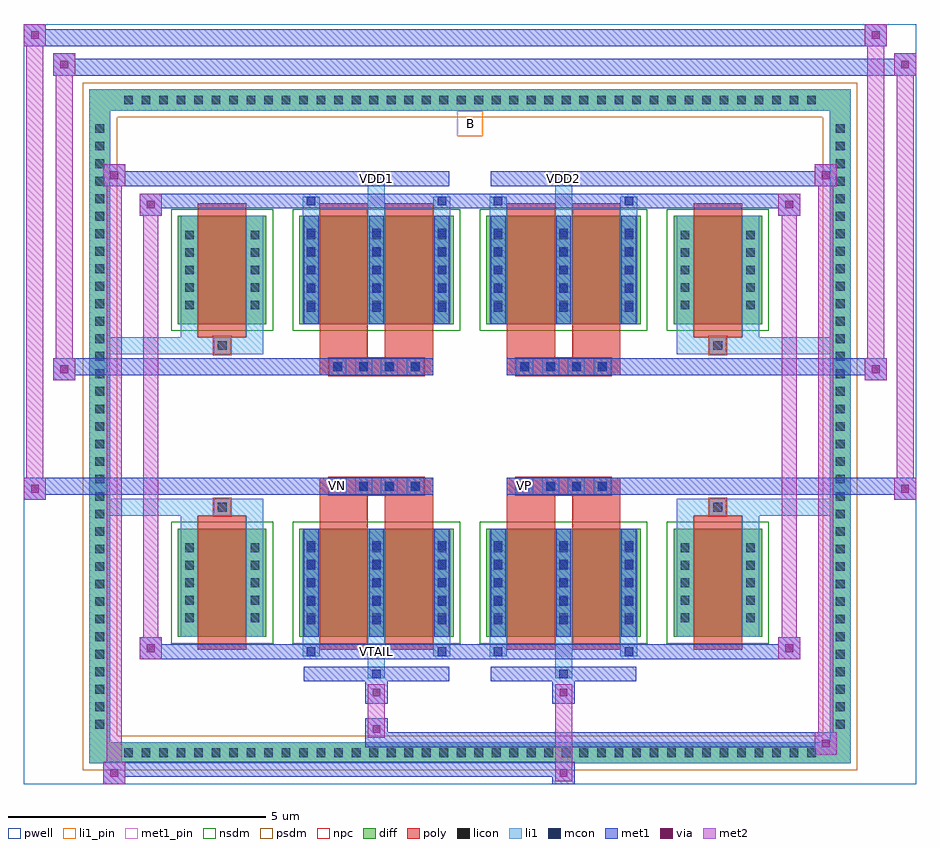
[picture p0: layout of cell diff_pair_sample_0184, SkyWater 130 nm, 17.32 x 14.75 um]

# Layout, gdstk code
import gdstk
lib = gdstk.Library(unit=1e-6, precision=5e-09)
def R(c, l, rs):  # rectangles x0, y0, x1, y1
    for r in rs: c.add(gdstk.rectangle(r[:2], r[2:], *l))
def A(c, l, x, y, w, h, nx, ny, dx, dy):  # array of equal rectangles
    R(c, l, [(x+i*dx, y+j*dy, x+i*dx+w, y+j*dy+h) for i in range(nx) for j in range(ny)])
def P(c, l, *ps):  # polygons
    for p in ps: c.add(gdstk.Polygon(p, *l))
pwell = (64, 44)
diff = (65, 20)
poly = (66, 20)
licon = (66, 44)
li1_pin = (67, 16)
li1 = (67, 20)
mcon = (67, 44)
met1_pin = (68, 16)
met1 = (68, 20)
via = (68, 44)
met2 = (69, 20)
nsdm = (93, 44)
psdm = (94, 20)
npc = (95, 20)

diff_pair_sample_0184 = lib.new_cell('diff_pair_sample_0184')
R(diff_pair_sample_0184, pwell, [(-8.66,-6.94,8.66,7.81), (-5.98,-5.13,-0.01,-0.795), (0.01,-5.13,5.98,-0.795), (-5.98,0.795,-0.01,5.13), (0.01,0.795,5.98,5.13)])
A(diff_pair_sample_0184, diff, -6.835, -6.54, 0.41, 0.41, 40, 2, 0.34, 12.67)
A(diff_pair_sample_0184, diff, -7.39, -5.985, 0.41, 0.41, 1, 35, 0, 0.34)
A(diff_pair_sample_0184, diff, 6.98, -5.985, 0.41, 0.41, 1, 35, 0, 0.34)
R(diff_pair_sample_0184, diff, [(-6.835,-6.54,6.835,-6.13), (-7.39,-5.985,-6.98,5.985), (6.98,-5.985,7.39,5.985), (-5.67,-4.085,-3.95,-1.985), (-3.31,-4.085,-0.32,-1.985), (0.32,-4.085,3.31,-1.985), (3.95,-4.085,5.67,-1.985), (-5.67,1.985,-3.95,4.085), (-3.31,1.985,-0.32,4.085), (0.32,1.985,3.31,4.085), (3.95,1.985,5.67,4.085), (-6.835,6.13,6.835,6.54)])
P(diff_pair_sample_0184, diff, [(7.39,6.54),(-7.39,6.54),(-7.39,-6.13),(-6.98,-6.13),(-6.98,6.13),(6.98,6.13),(6.98,-6.13),(-6.98,-6.13),(-7.39,-6.13),(-7.39,-6.54),(7.39,-6.54)])
A(diff_pair_sample_0184, poly, -2.73, -1.325, 0.33, 0.33, 4, 2, 0.5, 2.32)
A(diff_pair_sample_0184, poly, 0.9, -1.325, 0.33, 0.33, 4, 2, 0.5, 2.32)
R(diff_pair_sample_0184, poly, [(-5.28,-4.335,-4.34,-1.735), (-2.92,-4.335,-1.98,-1.735), (-1.65,-4.335,-0.71,-1.735), (0.71,-4.335,1.65,-1.735), (1.98,-4.335,2.92,-1.735), (4.34,-4.335,5.28,-1.735), (-4.975,-1.735,-4.645,-1.405), (-4.975,-1.735,-4.645,-1.405), (-2.92,-1.735,-1.98,-1.325), (-1.65,-1.735,-0.71,-1.325), (0.71,-1.735,1.65,-1.325), (1.98,-1.735,2.92,-1.325), (4.645,-1.735,4.975,-1.405), (4.645,-1.735,4.975,-1.405), (-2.92,-1.325,-0.71,-0.995), (0.71,-1.325,2.92,-0.995), (-2.92,0.995,-0.71,1.325), (0.71,0.995,2.92,1.325), (-2.92,1.325,-1.98,1.735), (-1.65,1.325,-0.71,1.735), (0.71,1.325,1.65,1.735), (1.98,1.325,2.92,1.735), (-4.975,1.405,-4.645,1.735), (-4.975,1.405,-4.645,1.735), (4.645,1.405,4.975,1.735), (4.645,1.405,4.975,1.735), (-5.28,1.735,-4.34,4.335), (-2.92,1.735,-1.98,4.335), (-1.65,1.735,-0.71,4.335), (0.71,1.735,1.65,4.335), (1.98,1.735,2.92,4.335), (4.34,1.735,5.28,4.335)])
A(diff_pair_sample_0184, licon, -6.715, -6.42, 0.17, 0.17, 40, 2, 0.34, 12.67)
A(diff_pair_sample_0184, licon, -7.27, -5.865, 0.17, 0.17, 1, 35, 0, 0.34)
A(diff_pair_sample_0184, licon, 7.1, -5.865, 0.17, 0.17, 1, 35, 0, 0.34)
A(diff_pair_sample_0184, licon, -5.53, -3.8, 0.17, 0.17, 1, 5, 0, 0.34)
A(diff_pair_sample_0184, licon, -4.26, -3.8, 0.17, 0.17, 1, 5, 0, 0.34)
A(diff_pair_sample_0184, licon, -3.17, -3.8, 0.17, 0.17, 3, 5, 1.27, 0.34)
A(diff_pair_sample_0184, licon, 0.46, -3.8, 0.17, 0.17, 3, 5, 1.27, 0.34)
A(diff_pair_sample_0184, licon, 4.09, -3.8, 0.17, 0.17, 1, 5, 0, 0.34)
A(diff_pair_sample_0184, licon, 5.36, -3.8, 0.17, 0.17, 1, 5, 0, 0.34)
A(diff_pair_sample_0184, licon, -2.65, -1.245, 0.17, 0.17, 4, 2, 0.5, 2.32)
A(diff_pair_sample_0184, licon, 0.98, -1.245, 0.17, 0.17, 4, 2, 0.5, 2.32)
A(diff_pair_sample_0184, licon, -5.53, 2.27, 0.17, 0.17, 1, 5, 0, 0.34)
A(diff_pair_sample_0184, licon, -4.26, 2.27, 0.17, 0.17, 1, 5, 0, 0.34)
A(diff_pair_sample_0184, licon, -3.17, 2.27, 0.17, 0.17, 3, 5, 1.27, 0.34)
A(diff_pair_sample_0184, licon, 0.46, 2.27, 0.17, 0.17, 3, 5, 1.27, 0.34)
A(diff_pair_sample_0184, licon, 4.09, 2.27, 0.17, 0.17, 1, 5, 0, 0.34)
A(diff_pair_sample_0184, licon, 5.36, 2.27, 0.17, 0.17, 1, 5, 0, 0.34)
R(diff_pair_sample_0184, licon, [(-4.895,-1.655,-4.725,-1.485), (4.725,-1.655,4.895,-1.485), (-4.895,1.485,-4.725,1.655), (4.725,1.485,4.895,1.655)])
R(diff_pair_sample_0184, li1_pin, [(-0.25,5.63,0.25,6.13)])
A(diff_pair_sample_0184, li1, -6.795, -6.5, 0.33, 0.33, 40, 2, 0.34, 12.67)
A(diff_pair_sample_0184, li1, -7.35, -5.945, 0.33, 0.33, 1, 35, 0, 0.34)
A(diff_pair_sample_0184, li1, 7.02, -5.945, 0.33, 0.33, 1, 35, 0, 0.34)
A(diff_pair_sample_0184, li1, -3.25, -4.085, 0.33, 2.1, 3, 2, 1.27, 6.07)
A(diff_pair_sample_0184, li1, 0.38, -4.085, 0.33, 2.1, 3, 2, 1.27, 6.07)
A(diff_pair_sample_0184, li1, -5.61, -3.88, 0.33, 0.33, 1, 5, 0, 0.34)
A(diff_pair_sample_0184, li1, -4.34, -3.88, 0.33, 0.33, 1, 5, 0, 0.34)
A(diff_pair_sample_0184, li1, -3.25, -3.88, 0.33, 0.33, 3, 5, 1.27, 0.34)
A(diff_pair_sample_0184, li1, 0.38, -3.88, 0.33, 0.33, 3, 5, 1.27, 0.34)
A(diff_pair_sample_0184, li1, 4.01, -3.88, 0.33, 0.33, 1, 5, 0, 0.34)
A(diff_pair_sample_0184, li1, 5.28, -3.88, 0.33, 0.33, 1, 5, 0, 0.34)
A(diff_pair_sample_0184, li1, -3.17, -3.84, 0.17, 0.17, 3, 5, 1.27, 0.36)
A(diff_pair_sample_0184, li1, -3.17, -3.84, 0.17, 1.61, 3, 2, 1.27, 6.07)
A(diff_pair_sample_0184, li1, 0.46, -3.84, 0.17, 0.17, 3, 5, 1.27, 0.36)
A(diff_pair_sample_0184, li1, 0.46, -3.84, 0.17, 1.61, 3, 2, 1.27, 6.07)
A(diff_pair_sample_0184, li1, -2.73, -1.325, 0.33, 0.33, 4, 2, 0.5, 2.32)
A(diff_pair_sample_0184, li1, 0.9, -1.325, 0.33, 0.33, 4, 2, 0.5, 2.32)
A(diff_pair_sample_0184, li1, -5.61, 2.19, 0.33, 0.33, 1, 5, 0, 0.34)
A(diff_pair_sample_0184, li1, -4.34, 2.19, 0.33, 0.33, 1, 5, 0, 0.34)
A(diff_pair_sample_0184, li1, -3.25, 2.19, 0.33, 0.33, 3, 5, 1.27, 0.34)
A(diff_pair_sample_0184, li1, 0.38, 2.19, 0.33, 0.33, 3, 5, 1.27, 0.34)
A(diff_pair_sample_0184, li1, 4.01, 2.19, 0.33, 0.33, 1, 5, 0, 0.34)
A(diff_pair_sample_0184, li1, 5.28, 2.19, 0.33, 0.33, 1, 5, 0, 0.34)
A(diff_pair_sample_0184, li1, -3.17, 2.23, 0.17, 0.17, 3, 5, 1.27, 0.36)
A(diff_pair_sample_0184, li1, 0.46, 2.23, 0.17, 0.17, 3, 5, 1.27, 0.36)
R(diff_pair_sample_0184, li1, [(-7.39,-6.54,-6.98,-6.13), (-7.39,-6.54,-6.98,-6.13), (-6.98,-6.54,6.98,-6.13), (6.98,-6.54,7.39,-6.13), (6.98,-6.54,7.39,-6.13), (-7.39,-6.13,-6.98,6.13), (6.98,-6.13,7.39,6.13), (-1.98,-4.89,-1.65,-4.085), (-1.9,-4.89,-1.73,-4.72), (1.65,-4.89,1.98,-4.085), (1.73,-4.89,1.9,-4.72), (-3.25,-4.46,-2.92,-4.085), (-3.17,-4.46,-3,-4.29), (-0.71,-4.46,-0.38,-4.085), (-0.63,-4.46,-0.46,-4.29), (0.38,-4.46,0.71,-4.085), (0.46,-4.46,0.63,-4.29), (2.92,-4.46,3.25,-4.085), (3,-4.46,3.17,-4.29), (-5.61,-4.085,-5.28,-1.985), (-4.34,-4.085,-4.01,-1.985), (4.01,-4.085,4.34,-1.985), (5.28,-4.085,5.61,-1.985), (-5.61,-1.985,-5.28,-1.405), (-4.34,-1.985,-4.01,-1.405), (4.01,-1.985,4.34,-1.405), (5.28,-1.985,5.61,-1.405), (-7.39,-1.735,-4.975,-1.405), (-5.61,-1.735,-4.975,-1.405), (-4.975,-1.735,-4.645,-1.405), (-4.645,-1.735,-4.01,-1.405), (4.01,-1.735,4.645,-1.405), (4.645,-1.735,4.975,-1.405), (4.645,-1.735,7.39,-1.405), (4.975,-1.735,5.61,-1.405), (-7.39,1.405,-4.975,1.735), (-5.61,1.405,-4.975,1.735), (-5.61,1.405,-5.28,1.985), (-4.975,1.405,-4.645,1.735), (-4.645,1.405,-4.01,1.735), (-4.34,1.405,-4.01,1.985), (4.01,1.405,4.645,1.735), (4.01,1.405,4.34,1.985), (4.645,1.405,4.975,1.735), (4.645,1.405,7.39,1.735), (4.975,1.405,5.61,1.735), (5.28,1.405,5.61,1.985), (-5.61,1.985,-5.28,4.085), (-4.34,1.985,-4.01,4.085), (4.01,1.985,4.34,4.085), (5.28,1.985,5.61,4.085), (-3.25,4.085,-2.92,4.46), (-1.98,4.085,-1.65,4.89), (-0.71,4.085,-0.38,4.46), (0.38,4.085,0.71,4.46), (1.65,4.085,1.98,4.89), (2.92,4.085,3.25,4.46), (-3.17,4.29,-3,4.46), (-0.63,4.29,-0.46,4.46), (0.46,4.29,0.63,4.46), (3,4.29,3.17,4.46), (-1.9,4.72,-1.73,4.89), (1.73,4.72,1.9,4.89), (-7.39,6.13,-6.98,6.54), (-7.39,6.13,-6.98,6.54), (-6.98,6.13,6.98,6.54), (6.98,6.13,7.39,6.54), (6.98,6.13,7.39,6.54)])
A(diff_pair_sample_0184, mcon, -3.17, -3.84, 0.17, 0.17, 3, 5, 1.27, 0.36)
A(diff_pair_sample_0184, mcon, 0.46, -3.84, 0.17, 0.17, 3, 5, 1.27, 0.36)
A(diff_pair_sample_0184, mcon, -2.65, -1.245, 0.17, 0.17, 4, 2, 0.5, 2.32)
A(diff_pair_sample_0184, mcon, 0.98, -1.245, 0.17, 0.17, 4, 2, 0.5, 2.32)
A(diff_pair_sample_0184, mcon, -3.17, 2.23, 0.17, 0.17, 3, 5, 1.27, 0.36)
A(diff_pair_sample_0184, mcon, 0.46, 2.23, 0.17, 0.17, 3, 5, 1.27, 0.36)
R(diff_pair_sample_0184, mcon, [(-1.9,-4.89,-1.73,-4.72), (1.73,-4.89,1.9,-4.72), (-3.17,-4.46,-3,-4.29), (-0.63,-4.46,-0.46,-4.29), (0.46,-4.46,0.63,-4.29), (3,-4.46,3.17,-4.29), (-3.17,4.29,-3,4.46), (-0.63,4.29,-0.46,4.46), (0.46,4.29,0.63,4.46), (3,4.29,3.17,4.46), (-1.9,4.72,-1.73,4.89), (1.73,4.72,1.9,4.89)])
R(diff_pair_sample_0184, met1_pin, [(-1.95,-4.5,-1.68,-4.23), (-2.7,-1.285,-2.43,-1.015), (0.93,-1.285,1.2,-1.015), (-1.95,4.68,-1.68,4.95), (1.68,4.68,1.95,4.95)])
A(diff_pair_sample_0184, met1, -3.23, -4.085, 0.29, 2.1, 3, 2, 1.27, 6.07)
A(diff_pair_sample_0184, met1, 0.4, -4.085, 0.29, 2.1, 3, 2, 1.27, 6.07)
A(diff_pair_sample_0184, met1, -3.23, -3.9, 0.29, 0.29, 3, 5, 1.27, 0.36)
A(diff_pair_sample_0184, met1, 0.4, -3.9, 0.29, 0.29, 3, 5, 1.27, 0.36)
A(diff_pair_sample_0184, met1, -2.71, -1.305, 0.29, 0.29, 4, 2, 0.5, 2.32)
A(diff_pair_sample_0184, met1, 0.92, -1.305, 0.29, 0.29, 4, 2, 0.5, 2.32)
A(diff_pair_sample_0184, met1, -3.23, 2.17, 0.29, 0.29, 3, 5, 1.27, 0.36)
A(diff_pair_sample_0184, met1, 0.4, 2.17, 0.29, 0.29, 3, 5, 1.27, 0.36)
R(diff_pair_sample_0184, met1, [(-7.12,-6.94,-6.69,-6.51), (1.6,-6.94,2.03,-6.51), (-7.12,-6.8,2.03,-6.51), (6.69,-6.37,7.12,-5.94), (-2.03,-6.23,7.12,-5.94), (-2.03,-6.09,-1.6,-5.66), (-2.03,-5.38,-1.6,-4.95), (1.6,-5.38,2.03,-4.95), (-3.23,-4.95,-0.4,-4.66), (-1.96,-4.95,-1.67,-4.66), (0.4,-4.95,3.23,-4.66), (1.67,-4.95,1.96,-4.66), (-6.41,-4.52,-5.98,-4.09), (-6.41,-4.52,-3.23,-4.23), (-3.23,-4.52,-2.94,-4.23), (-3.23,-4.52,-0.4,-4.23), (-0.69,-4.52,-0.4,-4.23), (-0.4,-4.52,0.4,-4.23), (0.4,-4.52,0.69,-4.23), (0.4,-4.52,3.23,-4.23), (2.94,-4.52,3.23,-4.23), (3.23,-4.52,6.41,-4.23), (5.98,-4.52,6.41,-4.09), (-8.66,-1.425,-8.23,-0.995), (8.23,-1.425,8.66,-0.995), (-8.66,-1.325,-0.71,-0.995), (-2.92,-1.325,-0.71,-0.995), (0.71,-1.325,2.92,-0.995), (0.71,-1.325,8.66,-0.995), (-8.09,0.895,-7.66,1.325), (7.66,0.895,8.09,1.325), (-8.09,0.995,-2.92,1.325), (-2.92,0.995,-0.71,1.325), (0.71,0.995,2.92,1.325), (2.92,0.995,8.09,1.325), (-6.41,4.09,-5.98,4.52), (5.98,4.09,6.41,4.52), (-6.41,4.23,-3.23,4.52), (-3.23,4.23,-2.94,4.52), (-3.23,4.23,-0.4,4.52), (-0.69,4.23,-0.4,4.52), (-0.4,4.23,0.4,4.52), (0.4,4.23,0.69,4.52), (0.4,4.23,3.23,4.52), (2.94,4.23,3.23,4.52), (3.23,4.23,6.41,4.52), (-7.12,4.66,-6.69,5.09), (-7.12,4.66,-3.23,4.95), (-3.23,4.66,-0.4,4.95), (-1.96,4.66,-1.67,4.95), (0.4,4.66,3.23,4.95), (1.67,4.66,1.96,4.95), (3.23,4.66,7.12,4.95), (6.69,4.66,7.12,5.09), (-8.09,6.81,-7.66,7.24), (-8.09,6.81,-5.98,7.14), (-5.98,6.81,5.98,7.14), (5.98,6.81,8.66,7.14), (8.23,6.81,8.66,7.24), (-8.66,7.38,-8.23,7.81), (-8.66,7.38,-5.98,7.71), (-5.98,7.38,5.98,7.71), (5.98,7.38,8.09,7.71), (7.66,7.38,8.09,7.81)])
R(diff_pair_sample_0184, via, [(-6.98,-6.8,-6.83,-6.65), (1.74,-6.8,1.89,-6.65), (6.83,-6.23,6.98,-6.08), (-1.89,-5.95,-1.74,-5.8), (-1.89,-5.24,-1.74,-5.09), (1.74,-5.24,1.89,-5.09), (-6.27,-4.38,-6.12,-4.23), (6.12,-4.38,6.27,-4.23), (-8.52,-1.285,-8.37,-1.135), (8.37,-1.285,8.52,-1.135), (-7.95,1.035,-7.8,1.185), (7.8,1.035,7.95,1.185), (-6.27,4.23,-6.12,4.38), (6.12,4.23,6.27,4.38), (-6.98,4.8,-6.83,4.95), (6.83,4.8,6.98,4.95), (-7.95,6.95,-7.8,7.1), (8.37,6.95,8.52,7.1), (-8.52,7.52,-8.37,7.67), (7.8,7.52,7.95,7.67)])
R(diff_pair_sample_0184, met2, [(-7.12,-6.94,-6.69,-6.51), (-7.05,-6.94,-6.76,5.09), (-6.76,-6.94,-6.69,-6.51), (-7.07,-6.89,-6.74,-6.56), (1.65,-6.89,1.98,-6.56), (1.65,-6.56,1.98,-5.33), (6.69,-6.37,7.12,-5.94), (6.76,-6.37,7.05,5.09), (7.05,-6.37,7.12,-5.94), (6.74,-6.32,7.07,-5.99), (-1.98,-6.04,-1.65,-5.71), (-1.98,-5.71,-1.65,-5.33), (-1.98,-5.33,-1.65,-5), (1.65,-5.33,1.98,-5), (-6.41,-4.52,-5.98,-4.09), (-6.34,-4.52,-6.05,4.52), (-6.05,-4.52,-5.98,-4.09), (5.98,-4.52,6.41,-4.09), (6.05,-4.52,6.34,4.52), (6.34,-4.52,6.41,-4.09), (-6.36,-4.47,-6.03,-4.14), (6.03,-4.47,6.36,-4.14), (-8.66,-1.425,-8.23,-0.995), (-8.61,-1.425,-8.28,7.81), (-8.28,-1.425,-8.23,-0.995), (8.23,-1.425,8.66,-0.995), (8.28,-1.425,8.61,7.24), (8.61,-1.425,8.66,-0.995), (-8.61,-1.375,-8.28,-1.045), (8.28,-1.375,8.61,-1.045), (-8.09,0.895,-7.66,1.325), (-8.04,0.895,-7.71,7.24), (-7.71,0.895,-7.66,1.325), (7.66,0.895,8.09,1.325), (7.71,0.895,8.04,7.81), (8.04,0.895,8.09,1.325), (-8.04,0.945,-7.71,1.275), (7.71,0.945,8.04,1.275), (-6.41,4.09,-5.98,4.52), (-6.05,4.09,-5.98,4.52), (5.98,4.09,6.41,4.52), (6.34,4.09,6.41,4.52), (-6.36,4.14,-6.03,4.47), (6.03,4.14,6.36,4.47), (-7.12,4.66,-6.69,5.09), (-6.76,4.66,-6.69,5.09), (6.69,4.66,7.12,5.09), (7.05,4.66,7.12,5.09), (-7.07,4.71,-6.74,5.04), (6.74,4.71,7.07,5.04), (-8.09,6.81,-7.66,7.24), (-7.71,6.81,-7.66,7.24), (8.23,6.81,8.66,7.24), (8.61,6.81,8.66,7.24), (-8.04,6.86,-7.71,7.19), (8.28,6.86,8.61,7.19), (-8.66,7.38,-8.23,7.81), (-8.28,7.38,-8.23,7.81), (7.66,7.38,8.09,7.81), (8.04,7.38,8.09,7.81), (-8.61,7.43,-8.28,7.76), (7.71,7.43,8.04,7.76)])
R(diff_pair_sample_0184, nsdm, [(-5.8,-4.215,-3.82,-1.855), (-3.44,-4.215,-0.19,-1.855), (0.19,-4.215,3.44,-1.855), (3.82,-4.215,5.8,-1.855), (-5.8,1.855,-3.82,4.215), (-3.44,1.855,-0.19,4.215), (0.19,1.855,3.44,4.215), (3.82,1.855,5.8,4.215)])
P(diff_pair_sample_0184, psdm, [(7.52,6.67),(-7.52,6.67),(-7.52,-6),(-6.85,-6),(-6.85,6),(6.85,6),(6.85,-6),(-6.85,-6),(-7.52,-6),(-7.52,-6.67),(7.52,-6.67)])
A(diff_pair_sample_0184, npc, -2.75, -1.345, 0.37, 0.37, 4, 2, 0.5, 2.32)
A(diff_pair_sample_0184, npc, 0.88, -1.345, 0.37, 0.37, 4, 2, 0.5, 2.32)
R(diff_pair_sample_0184, npc, [(-4.995,-1.755,-4.625,-1.385), (4.625,-1.755,4.995,-1.385), (-2.75,-1.345,-1.88,-0.975), (-2.75,-1.345,-1.88,-0.975), (-2.25,-1.345,-1.38,-0.975), (-2.25,-1.345,-1.38,-0.975), (-1.75,-1.345,-0.88,-0.975), (-1.75,-1.345,-0.88,-0.975), (0.88,-1.345,1.75,-0.975), (0.88,-1.345,1.75,-0.975), (1.38,-1.345,2.25,-0.975), (1.38,-1.345,2.25,-0.975), (1.88,-1.345,2.75,-0.975), (1.88,-1.345,2.75,-0.975), (-2.75,0.975,-1.88,1.345), (-2.75,0.975,-1.88,1.345), (-2.25,0.975,-1.38,1.345), (-2.25,0.975,-1.38,1.345), (-1.75,0.975,-0.88,1.345), (-1.75,0.975,-0.88,1.345), (0.88,0.975,1.75,1.345), (0.88,0.975,1.75,1.345), (1.38,0.975,2.25,1.345), (1.38,0.975,2.25,1.345), (1.88,0.975,2.75,1.345), (1.88,0.975,2.75,1.345), (-4.995,1.385,-4.625,1.755), (4.625,1.385,4.995,1.755)])
diff_pair_sample_0184.add(gdstk.Label('VTAIL', (-1.815,-4.365), layer=68, texttype=5))
diff_pair_sample_0184.add(gdstk.Label('VN', (-2.565,-1.15), layer=68, texttype=5))
diff_pair_sample_0184.add(gdstk.Label('VP', (1.065,-1.15), layer=68, texttype=5))
diff_pair_sample_0184.add(gdstk.Label('B', (0,5.88), layer=67, texttype=5))
diff_pair_sample_0184.add(gdstk.Label('VDD2', (1.815,4.815), layer=68, texttype=5))
diff_pair_sample_0184.add(gdstk.Label('VDD1', (-1.815,4.815), layer=68, texttype=5))

lib.write_gds('diff_pair_sample_0184.gds')
